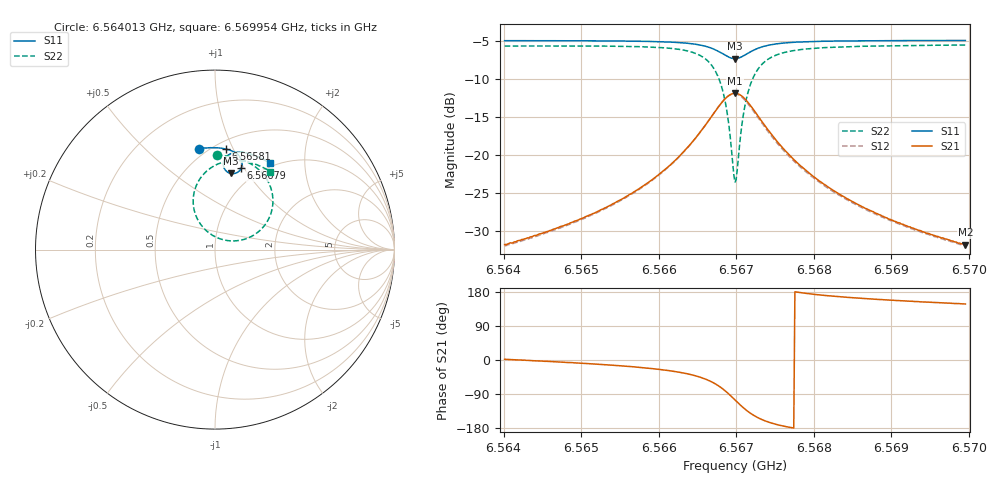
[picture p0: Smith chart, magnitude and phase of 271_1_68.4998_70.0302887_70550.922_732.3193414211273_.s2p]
#  HZ  S  RI  R  50.00
! Rohde & Schwarz Vector Network Analyzer
! Rohde-Schwarz,ZNB20-2Port,1311601062101988,3.16
! Created: UTC 3/20/2024, 5:00:45 PM
! freq[Hz]  re:S11  im:S11  re:S21  im:S21  re:S12  im:S12  re:S22  im:S22
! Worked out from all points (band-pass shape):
!   401 points, 6.564013 GHz to 6.569954 GHz, reference 50 ohm
!   highest |S21| = -11.83 dB at 6.566983 GHz (marker M1); lowest = -31.8 dB at 6.569954 GHz (marker M2)
!   |S21| within 3 dB of the highest: 6.566686 GHz to 6.56728 GHz (594.9 kHz wide, 0.00906 % of centre)
!   lowest |S11| = -7.3 dB at 6.566983 GHz (marker M3), VSWR 2.53, Z = 40.1 + j41.9 ohm
!   |S11| at or under -10 dB: nowhere
!   |S22| runs from -23.6 to -5.5 dB; largest |S21 - S12| = 0.012
!   S11 on the Smith chart (normalised r, x): 6.564013 GHz: 0.45, +0.75; 6.56581 GHz: 0.57, +0.94; 6.56679 GHz: 0.83, +0.97; 6.569954 GHz: 0.95, +1.35
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6.5640129e9  -0.089 0.5619  0.0257 0.000855  0.0251 0.000376  0.00923 0.5246
6.565008e9  -0.00915 0.5679  0.0378 -0.00579  0.0372 -0.00627  0.0995 0.5154
6.5658101e9  0.0626 0.5601  0.0591 -0.0221  0.0582 -0.0227  0.1932 0.4812
6.5660032e9  0.0817 0.5548  0.0679 -0.0311  0.0667 -0.0318  0.2223 0.4628
6.5663151e9  0.1158 0.5383  0.0864 -0.0587  0.085 -0.0599  0.2776 0.4084
6.5665379e9  0.1407 0.5132  0.0995 -0.1019  0.0976 -0.1038  0.3165 0.3245
6.5666864e9  0.1511 0.4832  0.0958 -0.1542  0.0922 -0.1568  0.3178 0.2249
6.5667904e9  0.1465 0.4546  0.0705 -0.2033  0.064 -0.2058  0.2744 0.1326
6.5668795e9  0.127 0.4315  0.0197 -0.2411  0.0107 -0.2415  0.1832 0.0642
6.5669537e9  0.0995 0.4229  -0.0416 -0.2512  -0.0519 -0.2479  0.0736 0.0498
6.5669834e9  0.0874 0.4241  -0.0676 -0.247  -0.0776 -0.2417  0.0283 0.06
6.5670131e9  0.0761 0.428  -0.0922 -0.2375  -0.1014 -0.2305  -0.0136 0.0795
6.5670726e9  0.0579 0.4425  -0.1322 -0.2064  -0.1385 -0.1973  -0.0784 0.1385
6.567132e9  0.0481 0.4619  -0.1559 -0.1677  -0.1591 -0.1578  -0.1132 0.2088
6.5671914e9  0.0465 0.481  -0.1647 -0.1299  -0.1653 -0.1208  -0.1217 0.2757
6.5672656e9  0.052 0.501  -0.1622 -0.0905  -0.1609 -0.083  -0.1092 0.3434
6.5673845e9  0.0686 0.5223  -0.1448 -0.048  -0.1423 -0.0428  -0.0683 0.4147
6.567533e9  0.0916 0.5358  -0.1204 -0.0191  -0.1178 -0.016  -0.0145 0.4609
6.5679786e9  0.1479 0.5421  -0.0729 0.00793  -0.0713 0.00891  0.0989 0.496
6.568439e9  0.1923 0.5335  -0.0496 0.0131  -0.0485 0.0136  0.1694 0.4913
6.5689737e9  0.2363 0.5181  -0.0351 0.014  -0.0344 0.0144  0.2279 0.4749
6.5699539e9  0.3066 0.4816  -0.0218 0.0137  -0.0212 0.0136  0.3085 0.4344
